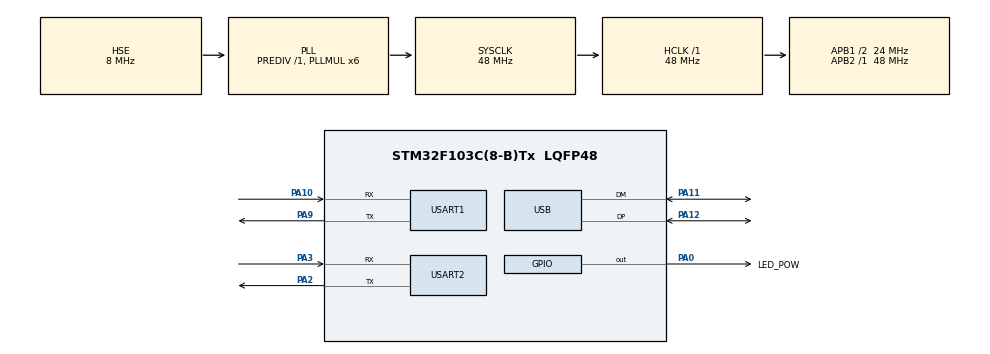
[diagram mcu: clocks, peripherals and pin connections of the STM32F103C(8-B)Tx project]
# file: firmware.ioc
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Mcu.Family=STM32F1
Mcu.Name=STM32F103C(8-B)Tx
Mcu.Package=LQFP48
NVIC.PriorityGroup=NVIC_PRIORITYGROUP_4
NVIC.USB_LP_CAN1_RX0_IRQn=true\:0\:0\:false\:false\:true\:false\:true
PA0-WKUP.GPIO_Label=LED_POW
PA0-WKUP.GPIO_PuPd=GPIO_PULLDOWN
PA0-WKUP.Signal=GPIO_Output
PA10.Mode=Asynchronous
PA10.Signal=USART1_RX
PA11.Mode=Device
PA11.Signal=USB_DM
PA12.Mode=Device
PA12.Signal=USB_DP
PA13.Mode=Serial_Wire
PA13.Signal=SYS_JTMS-SWDIO
PA14.Mode=Serial_Wire
PA14.Signal=SYS_JTCK-SWCLK
PA2.Mode=Asynchronous
PA2.Signal=USART2_TX
PA3.Mode=Asynchronous
PA3.Signal=USART2_RX
PA9.Mode=Asynchronous
PA9.Signal=USART1_TX
PD0-OSC_IN.Mode=HSE-External-Oscillator
PD0-OSC_IN.Signal=RCC_OSC_IN
PD1-OSC_OUT.Mode=HSE-External-Oscillator
PD1-OSC_OUT.Signal=RCC_OSC_OUT
ProjectManager.HeapSize=0x200
ProjectManager.StackSize=0x400
ProjectManager.TargetToolchain=SW4STM32
RCC.AHBFreq_Value=48000000
RCC.APB1CLKDivider=RCC_HCLK_DIV2
RCC.APB1Freq_Value=24000000
RCC.APB1TimFreq_Value=48000000
RCC.APB2Freq_Value=48000000
RCC.APB2TimFreq_Value=48000000
RCC.HCLKFreq_Value=48000000
RCC.PLLMUL=RCC_PLL_MUL6
RCC.SYSCLKFreq_VALUE=48000000
RCC.SYSCLKSource=RCC_SYSCLKSOURCE_PLLCLK
RCC.USBFreq_Value=48000000
USART1.VirtualMode=VM_ASYNC
USART2.VirtualMode=VM_ASYNC
USB_DEVICE.CLASS_NAME_FS=CDC
USB_DEVICE.VirtualMode=Cdc
USB_DEVICE.VirtualModeFS=Cdc_FS
VP_USB_DEVICE_VS_USB_DEVICE_CDC_FS.Mode=CDC_FS
board=custom

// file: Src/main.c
/* USER CODE BEGIN Header */
/**
  ******************************************************************************
  * @file           : main.c
  * @brief          : Main program body
  ******************************************************************************
  * @attention
  *
  * <h2><center>&copy; Copyright (c) 2019 STMicroelectronics.
  * All rights reserved.</center></h2>
  *
  * This software component is licensed by ST under Ultimate Liberty license
  * SLA0044, the "License"; You may not use this file except in compliance with
  * the License. You may obtain a copy of the License at:
  *                             www.st.com/SLA0044
  *
  ******************************************************************************
  */
/* USER CODE END Header */

#include "main.h"
#include "usb_device.h"

/* USER CODE BEGIN Includes */
//#include "device_conf.h"
//#include "led_blink.h"
#include "curemisc.h"
#include "curebuffer.h"
#include "usbd_midi_if.h"
/* USER CODE END Includes */

/* USER CODE BEGIN PTD */
//extern USBD_HandleTypeDef hUsbDeviceFS;
bool isUartReady[2] = {true, true};
//UART_HandleTypeDef* uart_handler[2] = {&huart1, &huart2};

uint8_t uart_tx_dat;

uint8_t uart_rx_dat[MIDI_IN_JACK_NUM];

/* USER CODE END PTD */

UART_HandleTypeDef huart1;
UART_HandleTypeDef huart2;

void SystemClock_Config(void);
static void MX_GPIO_Init(void);
static void MX_USART1_UART_Init(void);
static void MX_USART2_UART_Init(void);

int main(void)
{

  /* MCU Configuration--------------------------------------------------------*/

  /* Reset of all peripherals, Initializes the Flash interface and the Systick. */
  HAL_Init();

  /* Configure the system clock */
  SystemClock_Config();

  /* Initialize all configured peripherals */
  MX_GPIO_Init();
  MX_USART1_UART_Init();
  MX_USART2_UART_Init();
  MX_USB_DEVICE_Init();
  /* USER CODE BEGIN 2 */

  //USB-MIDI Init
  MX_USB_MIDI_INIT();

  //Init misc
  // ledInit();

  if(FUNC_ERROR == midiInit() ){
	  while(1){
		  HAL_GPIO_WritePin(LED_POW_GPIO_Port, LED_POW_Pin, SET);
		  HAL_Delay(500);
		  HAL_GPIO_WritePin(LED_POW_GPIO_Port, LED_POW_Pin, RESET);
		  HAL_Delay(500);
	  }
  }

  //Wait usb configuration.
  while(1){
	  if(USBD_STATE_CONFIGURED == hUsbDeviceFS.dev_state){
		  HAL_GPIO_WritePin(LED_POW_GPIO_Port, LED_POW_Pin, SET);
		  break;
	  }else{
		  HAL_GPIO_WritePin(LED_POW_GPIO_Port, LED_POW_Pin, RESET);
	  }
  }

  //Start MIDI Receive from IN Jack
  HAL_UART_Receive_DMA(&huart1, &uart_rx_dat[0],1);
  HAL_UART_Receive_DMA(&huart2, &uart_rx_dat[1],1);

  /* USER CODE END 2 */

  /* Infinite loop */
  while (1)
  {

  }
}

void SystemClock_Config(void)
{
  RCC_OscInitTypeDef RCC_OscInitStruct = {0};
  RCC_ClkInitTypeDef RCC_ClkInitStruct = {0};
  RCC_PeriphCLKInitTypeDef PeriphClkInit = {0};

  /** Initializes the CPU, AHB and APB busses clocks
  */
  RCC_OscInitStruct.OscillatorType = RCC_OSCILLATORTYPE_HSE;
  RCC_OscInitStruct.HSEState = RCC_HSE_ON;
  RCC_OscInitStruct.HSEPredivValue = RCC_HSE_PREDIV_DIV1;
  RCC_OscInitStruct.HSIState = RCC_HSI_ON;
  RCC_OscInitStruct.PLL.PLLState = RCC_PLL_ON;
  RCC_OscInitStruct.PLL.PLLSource = RCC_PLLSOURCE_HSE;
  RCC_OscInitStruct.PLL.PLLMUL = RCC_PLL_MUL6;
  if (HAL_RCC_OscConfig(&RCC_OscInitStruct) != HAL_OK)
  {
    Error_Handler();
  }
  /** Initializes the CPU, AHB and APB busses clocks
  */
  RCC_ClkInitStruct.ClockType = RCC_CLOCKTYPE_HCLK|RCC_CLOCKTYPE_SYSCLK
                              |RCC_CLOCKTYPE_PCLK1|RCC_CLOCKTYPE_PCLK2;
  RCC_ClkInitStruct.SYSCLKSource = RCC_SYSCLKSOURCE_PLLCLK;
  RCC_ClkInitStruct.AHBCLKDivider = RCC_SYSCLK_DIV1;
  RCC_ClkInitStruct.APB1CLKDivider = RCC_HCLK_DIV2;
  RCC_ClkInitStruct.APB2CLKDivider = RCC_HCLK_DIV1;

  if (HAL_RCC_ClockConfig(&RCC_ClkInitStruct, FLASH_LATENCY_1) != HAL_OK)
  {
    Error_Handler();
  }
  PeriphClkInit.PeriphClockSelection = RCC_PERIPHCLK_USB;
  PeriphClkInit.UsbClockSelection = RCC_USBCLKSOURCE_PLL;
  if (HAL_RCCEx_PeriphCLKConfig(&PeriphClkInit) != HAL_OK)
  {
    Error_Handler();
  }
}

static void MX_USART1_UART_Init(void)
{

  huart1.Instance = USART1;
  huart1.Init.BaudRate = 115200;
  huart1.Init.WordLength = UART_WORDLENGTH_8B;
  huart1.Init.StopBits = UART_STOPBITS_1;
  huart1.Init.Parity = UART_PARITY_NONE;
  huart1.Init.Mode = UART_MODE_TX_RX;
  huart1.Init.HwFlowCtl = UART_HWCONTROL_NONE;
  huart1.Init.OverSampling = UART_OVERSAMPLING_16;
  if (HAL_UART_Init(&huart1) != HAL_OK)
  {
    Error_Handler();
  }

}

static void MX_USART2_UART_Init(void)
{

  huart2.Instance = USART2;
  huart2.Init.BaudRate = 115200;
  huart2.Init.WordLength = UART_WORDLENGTH_8B;
  huart2.Init.StopBits = UART_STOPBITS_1;
  huart2.Init.Parity = UART_PARITY_NONE;
  huart2.Init.Mode = UART_MODE_TX_RX;
  huart2.Init.HwFlowCtl = UART_HWCONTROL_NONE;
  huart2.Init.OverSampling = UART_OVERSAMPLING_16;
  if (HAL_UART_Init(&huart2) != HAL_OK)
  {
    Error_Handler();
  }

}

static void MX_GPIO_Init(void)
{
  GPIO_InitTypeDef GPIO_InitStruct = {0};

  /* GPIO Ports Clock Enable */
  __HAL_RCC_GPIOD_CLK_ENABLE();
  __HAL_RCC_GPIOA_CLK_ENABLE();

  /*Configure GPIO pin Output Level */
  HAL_GPIO_WritePin(LED_POW_GPIO_Port, LED_POW_Pin, GPIO_PIN_RESET);

  /*Configure GPIO pin : LED_POW_Pin */
  GPIO_InitStruct.Pin = LED_POW_Pin;
  GPIO_InitStruct.Mode = GPIO_MODE_OUTPUT_PP;
  GPIO_InitStruct.Pull = GPIO_PULLDOWN;
  GPIO_InitStruct.Speed = GPIO_SPEED_FREQ_LOW;
  HAL_GPIO_Init(LED_POW_GPIO_Port, &GPIO_InitStruct);

}

void Error_Handler(void)
{
}

/************************ (C) COPYRIGHT STMicroelectronics *****END OF FILE****/
